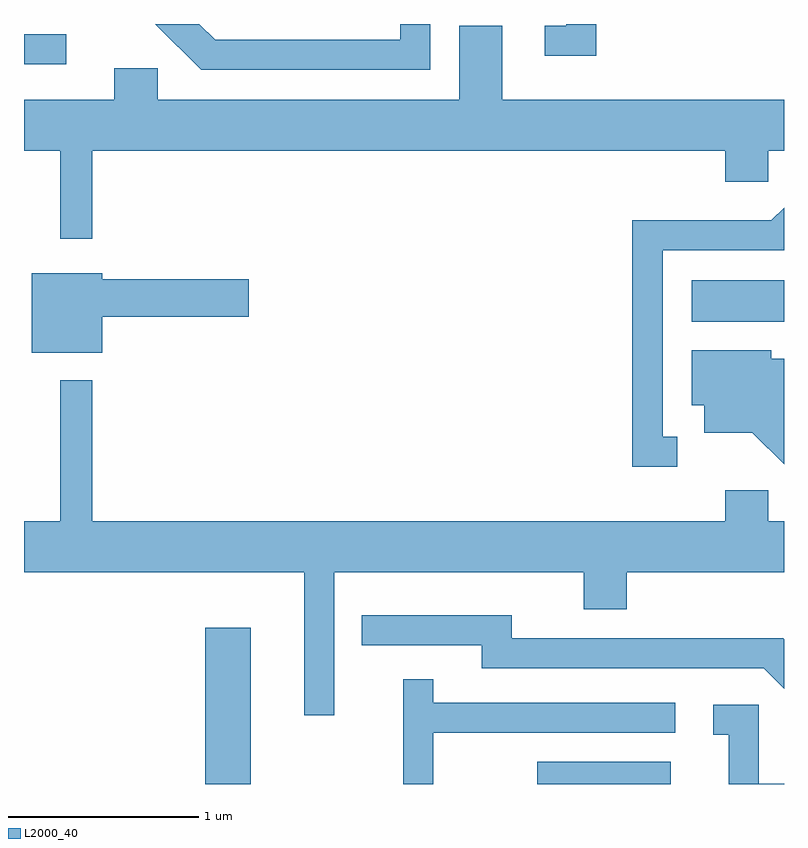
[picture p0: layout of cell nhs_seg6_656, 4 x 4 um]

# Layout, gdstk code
import gdstk
lib = gdstk.Library(unit=1e-6, precision=1e-09)
def R(c, l, rs):  # rectangles x0, y0, x1, y1
    for r in rs: c.add(gdstk.rectangle(r[:2], r[2:], *l))
def P(c, l, *ps):  # polygons
    for p in ps: c.add(gdstk.Polygon(p, *l))
L2000_40 = (2000, 40)

nhs_seg6_656 = lib.new_cell('nhs_seg6_656')
R(nhs_seg6_656, L2000_40, [(204.566,1642.162,204.804,1642.984), (206.313,1642.162,207.014,1642.279), (207.126,1644.596,207.611,1644.814), (203.611,1645.951,203.833,1646.109)])
P(nhs_seg6_656, L2000_40, [(205.749,1646.162),(205.591,1646.162),(205.591,1646.079),(204.617,1646.079),(204.534,1646.162),(204.303,1646.162),(204.544,1645.921),(205.749,1645.921)],
  [(206.624,1646.162),(206.466,1646.162),(206.466,1646.154),(206.353,1646.154),(206.353,1645.996),(206.624,1645.996)],
  [(203.969,1645.496),(207.301,1645.496),(207.301,1645.331),(207.529,1645.331),(207.529,1645.496),(207.611,1645.496),(207.611,1645.764),(206.129,1645.764),(206.129,1646.154),(205.901,1646.154),(205.901,1645.764),(204.314,1645.764),(204.314,1645.929),(204.086,1645.929),(204.086,1645.764),(203.611,1645.764),(203.611,1645.496),(203.801,1645.496),(203.801,1645.033),(203.969,1645.033)],
  [(207.048,1643.989),(206.974,1643.989),(206.974,1644.971),(207.611,1644.971),(207.611,1645.196),(207.544,1645.129),(206.811,1645.129),(206.811,1643.831),(207.048,1643.831)],
  [(204.024,1644.621),(204.794,1644.621),(204.794,1644.819),(204.024,1644.819),(204.024,1644.849),(203.651,1644.849),(203.651,1644.431),(204.024,1644.431)],
  [(207.611,1644.399),(207.544,1644.399),(207.544,1644.444),(207.126,1644.444),(207.126,1644.156),(207.191,1644.156),(207.191,1644.011),(207.444,1644.011),(207.611,1643.844)],
  [(205.244,1643.276),(206.556,1643.276),(206.556,1643.081),(206.784,1643.081),(206.784,1643.276),(207.611,1643.276),(207.611,1643.544),(207.529,1643.544),(207.529,1643.709),(207.301,1643.709),(207.301,1643.544),(203.969,1643.544),(203.969,1644.288),(203.801,1644.288),(203.801,1643.544),(203.611,1643.544),(203.611,1643.276),(205.086,1643.276),(205.086,1642.523),(205.244,1642.523)],
  [(207.611,1642.925),(207.607,1642.929),(206.179,1642.929),(206.179,1643.049),(205.388,1643.049),(205.388,1642.891),(206.021,1642.891),(206.021,1642.771),(207.504,1642.771),(207.611,1642.664)],
  [(205.764,1642.431),(207.038,1642.431),(207.038,1642.589),(205.764,1642.589),(205.764,1642.713),(205.606,1642.713),(205.606,1642.162),(205.764,1642.162)],
  [(207.611,1642.164),(207.479,1642.164),(207.479,1642.579),(207.238,1642.579),(207.238,1642.421),(207.321,1642.421),(207.321,1642.162),(207.611,1642.162)])

lib.write_gds('nhs_seg6_656.gds')
